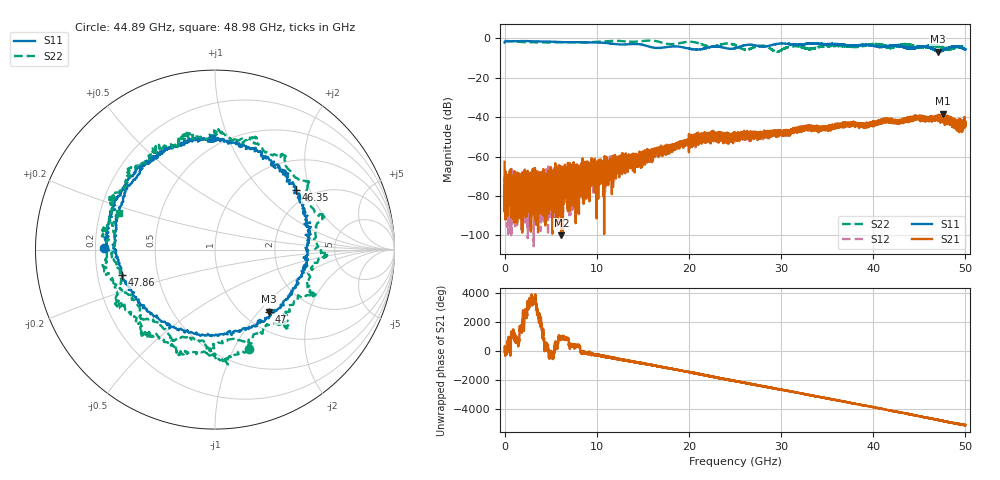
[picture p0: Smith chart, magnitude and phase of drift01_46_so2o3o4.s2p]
!Created with skrf (http://scikit-rf.org).
# Hz S RI R 50.0
!freq ReS11 ImS11 ReS21 ImS21 ReS12 ImS12 ReS22 ImS22
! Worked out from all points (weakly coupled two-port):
!   10001 points, 300 kHz to 50 GHz, reference 50 ohm
!   highest |S21| = -38.30 dB at 47.59 GHz (marker M1); lowest = -100.0 dB at 6.17 GHz (marker M2)
!   lowest |S11| = -6.8 dB at 47 GHz (marker M3), VSWR 2.68, Z = 64.9 - j56.6 ohm
!   |S11| at or under -10 dB: nowhere
!   |S22| runs from -6.9 to -1.1 dB; largest |S21 - S12| = 0.0046
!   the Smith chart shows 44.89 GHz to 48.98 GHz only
!   S11 on the Smith chart (normalised r, x): 44.89 GHz: 0.23, +0.01; 46.35 GHz: 1.67, +1.61; 47 GHz: 1.30, -1.13; 47.86 GHz: 0.31, -0.12; 48.98 GHz: 0.43, +0.87
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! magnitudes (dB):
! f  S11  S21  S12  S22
! 300 kHz  -2.1  -62.7  -70.1  -1.3
! 255.3 MHz  -1.4  -70.0  -95.7  -1.4
! 400.3 MHz  -1.4  -75.7  -74.1  -1.4
! 4.645 GHz  -1.6  -71.3  -68.2  -2.1
! 6.17 GHz  -1.9  -100.0  -74.8  -1.9
! 8.335 GHz  -2.0  -72.1  -66.4  -2.1
! 16.67 GHz  -4.9  -56.2  -57.6  -1.6
! 21.7 GHz  -5.2  -48.5  -50.1  -3.6
! 25 GHz  -5.0  -49.1  -49.5  -3.4
! 26.18 GHz  -3.3  -50.0  -48.8  -5.7
! 28.15 GHz  -4.2  -48.4  -49.2  -3.9
! 29.51 GHz  -2.8  -48.3  -47.8  -6.7
! 31.26 GHz  -3.0  -46.7  -46.9  -3.9
! 33.34 GHz  -2.6  -46.0  -46.2  -5.5
! 41.67 GHz  -3.9  -41.6  -41.6  -4.6
! 44.89 GHz  -4.2  -40.4  -40.2  -4.7
! 46.35 GHz  -5.0  -40.9  -40.7  -3.9
! 47 GHz  -6.8  -41.9  -40.7  -4.0
! 47.59 GHz  -6.0  -38.3  -39.9  -4.7
! 47.86 GHz  -5.4  -41.7  -42.4  -5.8
! 48.98 GHz  -4.1  -43.3  -44.0  -4.9
! 50 GHz  -5.5  -42.8  -44.1  -4.2
